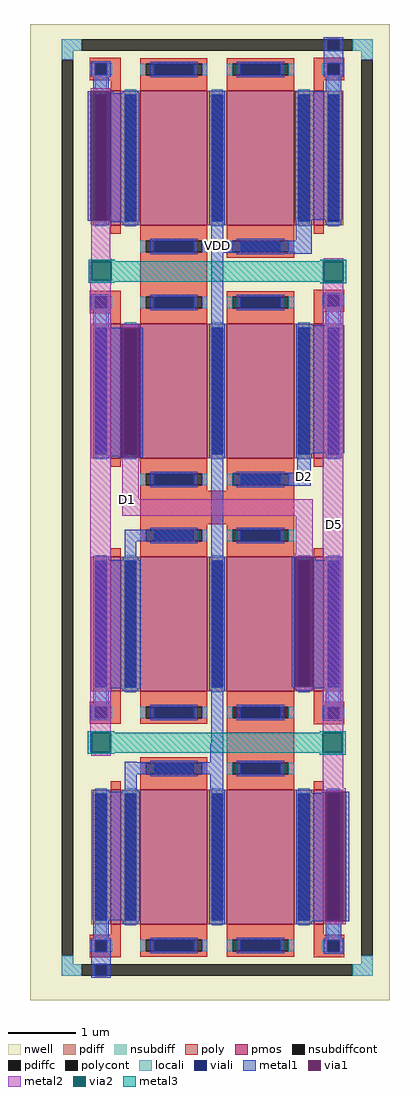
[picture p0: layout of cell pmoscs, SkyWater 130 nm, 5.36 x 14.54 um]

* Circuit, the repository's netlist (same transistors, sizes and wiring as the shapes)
** sch_path: /home/muqtada/opamp/mag/pmoscs/pmoscs.sch
.subckt pmoscs VDD D5 D2 D1
*.PININFO VDD:B D5:B D2:B D1:B
XM1 D1 D2 VDD VDD sky130_fd_pr__pfet_01v8 L=1 W=2 nf=1 m=2
XM2 D2 D2 VDD VDD sky130_fd_pr__pfet_01v8 L=1 W=2 nf=1 m=2
XM5 D5 D2 VDD VDD sky130_fd_pr__pfet_01v8 L=1 W=2 nf=1 m=2
XM3 VDD VDD VDD VDD sky130_fd_pr__pfet_01v8 L=1 W=2 nf=1 m=2
XM4 VDD VDD VDD VDD sky130_fd_pr__pfet_01v8 L=0.15 W=2 nf=1 m=2
XM6 D1 D1 D1 VDD sky130_fd_pr__pfet_01v8 L=0.15 W=2 nf=1 m=2
XM7 D2 D2 D2 VDD sky130_fd_pr__pfet_01v8 L=0.15 W=2 nf=1 m=2
XM8 D5 D5 D5 VDD sky130_fd_pr__pfet_01v8 L=0.15 W=2 nf=1 m=2
.ends
.end

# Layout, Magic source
magic
tech sky130A
magscale 1 2
<< nwell >>
rect -238 -820 833 2087
<< nsubdiff >>
rect -144 2008 -84 2042
rect 722 2008 782 2042
rect -144 1980 -110 2008
rect 748 1980 782 2008
rect -144 -714 -110 -688
rect 748 -714 782 -688
rect -144 -748 -84 -714
rect 722 -748 782 -714
<< nsubdiffcont >>
rect -84 2008 722 2042
rect -144 -688 -110 1980
rect 748 -688 782 1980
rect -84 -748 722 -714
<< poly >>
rect -60 1970 32 1986
rect -60 1936 -44 1970
rect -10 1936 32 1970
rect -60 1920 32 1936
rect 2 1888 32 1920
rect 606 1970 698 1986
rect 606 1936 648 1970
rect 682 1936 698 1970
rect 606 1920 698 1936
rect 606 1913 636 1920
rect -60 1276 32 1292
rect 90 1291 290 1391
rect -60 1242 -44 1276
rect -10 1242 32 1276
rect -60 1226 32 1242
rect 2 1194 32 1226
rect 606 1280 698 1295
rect 606 1246 648 1280
rect 682 1246 698 1280
rect 606 1230 698 1246
rect 606 1218 636 1230
rect 90 697 160 698
rect 90 597 548 697
rect 2 69 32 101
rect -60 53 32 69
rect 606 68 636 100
rect -60 19 -44 53
rect -10 19 32 53
rect -60 3 32 19
rect 348 -97 548 62
rect 606 52 698 68
rect 606 18 648 52
rect 682 18 698 52
rect 606 2 698 18
rect 2 -626 32 -594
rect -60 -642 32 -626
rect -60 -676 -44 -642
rect -10 -676 32 -642
rect -60 -692 32 -676
rect 606 -626 636 -594
rect 606 -642 698 -626
rect 606 -676 648 -642
rect 682 -676 698 -642
rect 606 -692 698 -676
<< polycont >>
rect -44 1936 -10 1970
rect 648 1936 682 1970
rect -44 1242 -10 1276
rect 648 1246 682 1280
rect -44 19 -10 53
rect 648 18 682 52
rect -44 -676 -10 -642
rect 648 -676 682 -642
<< locali >>
rect -144 2008 -84 2042
rect 722 2008 782 2042
rect -144 1980 -110 2008
rect 748 1980 782 2008
rect -60 1936 -44 1970
rect -10 1936 6 1970
rect 632 1936 648 1970
rect 682 1936 698 1970
rect -44 1888 -10 1936
rect 648 1885 682 1936
rect -60 1242 -44 1276
rect -10 1242 6 1276
rect 632 1246 648 1280
rect 682 1246 698 1280
rect -44 1194 -10 1242
rect 648 1194 682 1246
rect -44 497 -10 501
rect -44 53 -10 101
rect -60 19 -44 53
rect -10 19 6 53
rect 648 52 682 100
rect 632 18 648 52
rect 682 18 698 52
rect -44 -642 -10 -594
rect 648 -642 682 -594
rect -60 -676 -44 -642
rect -10 -676 6 -642
rect 632 -676 648 -642
rect 682 -676 698 -642
rect -144 -714 -110 -688
rect 748 -714 782 -688
rect -144 -748 -84 -714
rect 722 -748 782 -714
<< viali >>
rect 648 2008 682 2042
rect -44 1936 -10 1970
rect 648 1936 682 1970
rect -44 1242 -10 1276
rect 648 1246 682 1280
rect -44 19 -10 53
rect 648 18 682 52
rect -44 -676 -10 -642
rect 648 -676 682 -642
rect -44 -748 -10 -714
<< metal1 >>
rect 636 2042 694 2048
rect 636 2008 648 2042
rect 682 2008 694 2042
rect -56 1970 2 1976
rect -56 1936 -44 1970
rect -10 1936 2 1970
rect -56 1930 2 1936
rect 636 1970 694 2008
rect 636 1936 648 1970
rect 682 1936 694 1970
rect 636 1930 694 1936
rect -50 1888 -4 1930
rect 642 1886 688 1930
rect -67 1501 -57 1886
rect 0 1880 10 1886
rect 0 1501 87 1880
rect -52 1498 87 1501
rect 301 1440 337 1876
rect 552 1504 691 1886
rect 553 1442 600 1504
rect 393 1440 600 1442
rect 301 1405 600 1440
rect -56 1276 2 1282
rect -56 1242 -44 1276
rect -10 1242 2 1276
rect -56 1236 2 1242
rect -50 1194 -4 1236
rect -48 800 35 1182
rect 25 795 35 800
rect 87 795 97 1182
rect 44 546 262 580
rect -50 497 -4 501
rect 44 490 78 546
rect -48 108 91 490
rect -50 59 -4 101
rect -56 53 2 59
rect -56 19 -44 53
rect -10 19 2 53
rect -56 13 2 19
rect 301 -56 337 1405
rect 393 1403 600 1405
rect 636 1280 694 1286
rect 636 1246 648 1280
rect 682 1246 694 1280
rect 636 1240 694 1246
rect 642 1190 688 1240
rect 558 808 697 1190
rect 558 751 597 808
rect 367 712 597 751
rect 541 113 551 500
rect 603 490 613 500
rect 603 113 685 490
rect 546 108 685 113
rect 642 58 688 100
rect 636 52 694 58
rect 636 18 648 52
rect 682 18 694 52
rect 636 12 694 18
rect 44 -112 80 -111
rect 298 -112 337 -56
rect 44 -148 337 -112
rect 44 -200 80 -148
rect -51 -582 88 -200
rect 298 -207 337 -148
rect 631 -204 641 -200
rect 44 -585 80 -582
rect 301 -594 337 -207
rect 557 -585 641 -204
rect 702 -585 712 -200
rect 557 -586 696 -585
rect -50 -636 -4 -594
rect 642 -636 688 -594
rect -56 -642 2 -636
rect -56 -676 -44 -642
rect -10 -676 2 -642
rect -56 -714 2 -676
rect 636 -642 694 -636
rect 636 -676 648 -642
rect 682 -676 694 -642
rect 636 -682 694 -676
rect -56 -748 -44 -714
rect -10 -748 2 -714
rect -56 -754 2 -748
<< via1 >>
rect -57 1501 0 1886
rect 35 795 87 1182
rect 551 113 603 500
rect 641 -585 702 -200
<< metal2 >>
rect -57 1886 0 1896
rect 0 1501 1 1517
rect -57 1491 1 1501
rect -56 1390 1 1491
rect -56 1381 4 1390
rect 636 1381 694 1390
rect -59 1380 4 1381
rect -59 1322 -54 1380
rect -59 1312 4 1322
rect 633 1380 694 1381
rect 633 1320 636 1380
rect -59 -24 2 1312
rect 35 1182 87 1192
rect 35 785 87 795
rect 36 672 86 785
rect 36 622 603 672
rect 553 510 603 622
rect 551 500 603 510
rect 551 103 603 113
rect -59 -82 -56 -24
rect -56 -92 2 -82
rect 633 -24 694 1320
rect 633 -84 634 -24
rect 692 -84 694 -24
rect 633 -190 694 -84
rect 633 -200 702 -190
rect 633 -585 641 -200
rect 641 -595 702 -585
<< via2 >>
rect -54 1322 4 1380
rect 636 1320 694 1380
rect -56 -82 2 -24
rect 634 -84 692 -24
<< metal3 >>
rect -64 1380 14 1385
rect 626 1380 704 1385
rect -64 1322 -54 1380
rect 4 1322 636 1380
rect -64 1320 636 1322
rect 694 1320 704 1380
rect -64 1317 14 1320
rect 626 1315 704 1320
rect -66 -24 12 -19
rect 624 -24 702 -19
rect -66 -82 -56 -24
rect 2 -82 634 -24
rect -66 -84 634 -82
rect 692 -84 702 -24
rect -66 -87 12 -84
rect 624 -89 702 -84
use sky130_fd_pr__pfet_01v8_2ZH9EN  sky130_fd_pr__pfet_01v8_2ZH9EN_0
transform 1 0 621 0 1 994
box -109 -262 109 262
use sky130_fd_pr__pfet_01v8_2ZH9EN  sky130_fd_pr__pfet_01v8_2ZH9EN_1
transform 1 0 17 0 1 -394
box -109 -262 109 262
use sky130_fd_pr__pfet_01v8_2ZH9EN  sky130_fd_pr__pfet_01v8_2ZH9EN_2
transform 1 0 621 0 1 -394
box -109 -262 109 262
use sky130_fd_pr__pfet_01v8_2ZH9EN  sky130_fd_pr__pfet_01v8_2ZH9EN_3
transform 1 0 621 0 1 300
box -109 -262 109 262
use sky130_fd_pr__pfet_01v8_2ZH9EN  sky130_fd_pr__pfet_01v8_2ZH9EN_4
transform 1 0 17 0 1 300
box -109 -262 109 262
use sky130_fd_pr__pfet_01v8_2ZH9EN  sky130_fd_pr__pfet_01v8_2ZH9EN_5
transform 1 0 17 0 1 994
box -109 -262 109 262
use sky130_fd_pr__pfet_01v8_2ZH9EN  sky130_fd_pr__pfet_01v8_2ZH9EN_6
transform 1 0 621 0 1 1688
box -109 -262 109 262
use sky130_fd_pr__pfet_01v8_2ZH9EN  sky130_fd_pr__pfet_01v8_2ZH9EN_7
transform 1 0 17 0 1 1688
box -109 -262 109 262
use sky130_fd_pr__pfet_01v8_SDE6B7  sky130_fd_pr__pfet_01v8_SDE6B7_0
transform 1 0 319 0 1 -394
box -323 -300 323 300
use sky130_fd_pr__pfet_01v8_SDE6B7  sky130_fd_pr__pfet_01v8_SDE6B7_1
transform 1 0 319 0 1 300
box -323 -300 323 300
use sky130_fd_pr__pfet_01v8_SDE6B7  sky130_fd_pr__pfet_01v8_SDE6B7_2
transform 1 0 319 0 1 994
box -323 -300 323 300
use sky130_fd_pr__pfet_01v8_SDE6B7  sky130_fd_pr__pfet_01v8_SDE6B7_3
transform 1 0 319 0 1 1688
box -323 -300 323 300
<< labels >>
flabel metal1 319 1428 319 1428 0 FreeSans 160 0 0 0 VDD
port 0 nsew
flabel metal2 667 597 667 597 0 FreeSans 160 0 0 0 D5
port 1 nsew
flabel metal2 53 671 53 671 0 FreeSans 160 0 0 0 D1
port 2 nsew
flabel metal1 580 740 580 740 0 FreeSans 160 0 0 0 D2
port 3 nsew
<< end >>

# cell sky130_fd_pr__pfet_01v8_2ZH9EN: kit device sky130_fd_pr__pfet_01v8, w 2 l 0.15 m 1 nf 1 diffcov 100 polycov 100 guard 0 glc 1 grc 1 gtc 1 gbc 1 tbcov 100 rlcov 100 topc 0 botc 0 poverlap 0 doverlap 1 lmin 0.15 wmin 0.42 compatible {sky130_fd_pr__pfet_01v8 sky130_fd_pr__pfet_01v8_lvt sky130_fd_pr__pfet_01v8_hvt sky130_fd_pr__pfet_g5v0d10v5} full_metal 0 viasrc 100 viadrn 100 viagate 100 viagb 0 viagr 0 viagl 0 viagt 0

# cell sky130_fd_pr__pfet_01v8_SDE6B7: kit device sky130_fd_pr__pfet_01v8, w 2 l 1 m 1 nf 2 diffcov 100 polycov 100 guard 0 glc 1 grc 1 gtc 1 gbc 1 tbcov 100 rlcov 100 topc 1 botc 1 poverlap 0 doverlap 1 lmin 0.15 wmin 0.42 compatible {sky130_fd_pr__pfet_01v8 sky130_fd_pr__pfet_01v8_lvt sky130_fd_pr__pfet_01v8_hvt sky130_fd_pr__pfet_g5v0d10v5} full_metal 1 viasrc 100 viadrn 100 viagate 70 viagb 0 viagr 0 viagl 0 viagt 0
